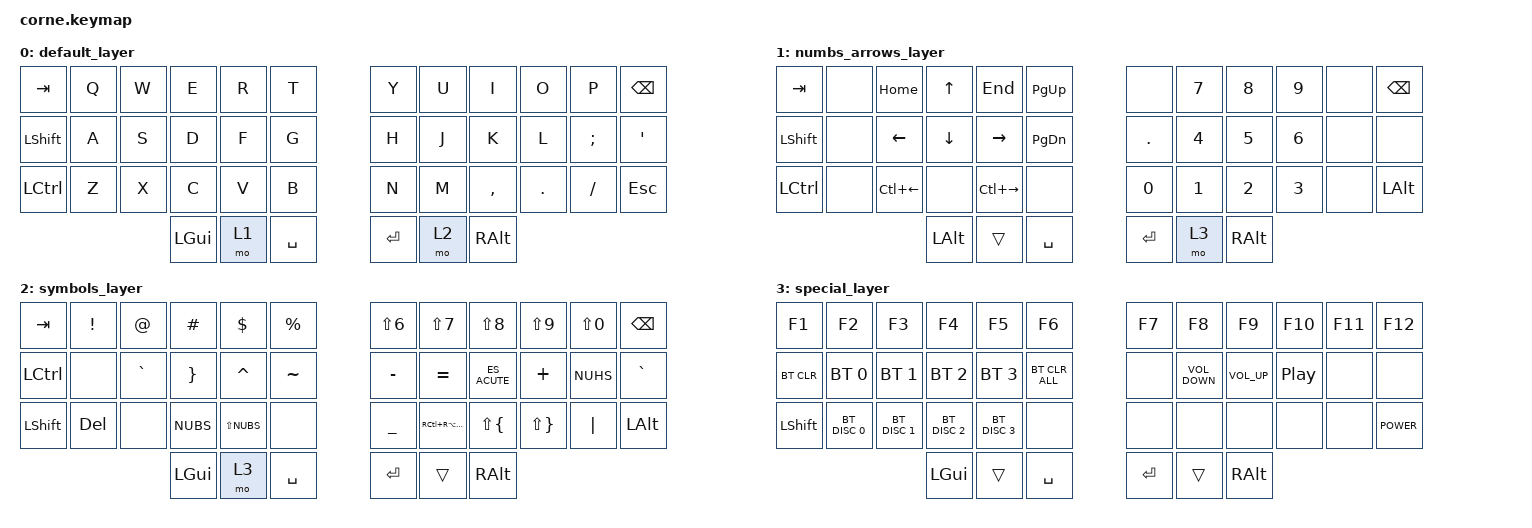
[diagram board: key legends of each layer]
/*
 * Copyright (c) 2020 The ZMK Contributors
 *
 * SPDX-License-Identifier: MIT
 */
// #include "config/keys_es_latin_american.h"

#pragma once

#include <dt-bindings/zmk/hid_usage.h>
#include <dt-bindings/zmk/hid_usage_pages.h>
#include <dt-bindings/zmk/modifiers.h>
#include <behaviors.dtsi>
#include <dt-bindings/zmk/bt.h>
#include <dt-bindings/zmk/keys.h>

/* ´ */

#define ES_ACUTE (ZMK_HID_USAGE(HID_USAGE_KEY, HID_USAGE_KEY_KEYBOARD_LEFT_BRACKET_AND_LEFT_BRACE))

/ {
    keymap {
        compatible = "zmk,keymap";

        default_layer {
            // -----------------------------------------------------------------------------------------
            // |  TAB |  Q  |  W  |  E  |  R  |  T  |   |  Y  |  U   |  I  |  O  |  P  | BKSP |
            // | CTRL |  A  |  S  |  D  |  F  |  G  |   |  H  |  J   |  K  |  L  |  ;  |  '   |
            // | SHFT |  Z  |  X  |  C  |  V  |  B  |   |  N  |  M   |  ,  |  .  |  /  | ESC  |
            //                    | GUI | LWR | SPC |   | ENT | RSE  | ALT |

            bindings = <
&kp TAB           &kp Q  &kp W  &kp E     &kp R  &kp T        &kp Y    &kp U  &kp I      &kp O    &kp P     &kp BSPC
&kp LEFT_SHIFT    &kp A  &kp S  &kp D     &kp F  &kp G        &kp H    &kp J  &kp K      &kp L    &kp SEMI  &kp SQT
&kp LEFT_CONTROL  &kp Z  &kp X  &kp C     &kp V  &kp B        &kp N    &kp M  &kp COMMA  &kp DOT  &kp FSLH  &kp ESC
                                &kp LGUI  &mo 1  &kp SPACE    &kp RET  &mo 2  &kp RALT
            >;
        };

        numbs_arrows_layer {
            bindings = <
&kp TAB           &none  &kp HOME      &kp UP        &kp END        &kp PAGE_UP      &none      &kp N7        &kp N8         &kp N9        &none  &kp BACKSPACE
&kp LEFT_SHIFT    &none  &kp LEFT      &kp DOWN      &kp RIGHT      &kp PAGE_DOWN    &kp DOT    &kp NUMBER_4  &kp N5         &kp N6        &none  &none
&kp LEFT_CONTROL  &none  &kp LC(LEFT)  &none         &kp LC(RIGHT)  &none            &kp N0     &kp NUMBER_1  &kp NUMBER_2   &kp NUMBER_3  &none  &kp LEFT_ALT
                                       &kp LEFT_ALT  &trans         &kp SPACE        &kp ENTER  &mo 3         &kp RIGHT_ALT
            >;
        };

        symbols_layer {
            // -----------------------------------------------------------------------------------------
            // |  TAB |  !  |  @  |  #  |  $  |  %  |   |  ^  |  &  |  *  |  (  |  )  | BKSP |
            // | CTRL |     |     |     |     |     |   |  -  |  =  |  [  |  ]  |  \  |  `   |
            // | SHFT |     |     |     |     |     |   |  _  |  +  |  {  |  }  | "|" |  ~   |
            //                    | GUI |     | SPC |   | ENT |     | ALT |

            bindings = <
&kp TAB    &kp EXCL    &kp AT     &kp HASH         &kp DLLR      &kp PRCNT    &kp LS(NUMBER_6)  &kp LS(N7)         &kp LS(N8)          &kp LS(N9)           &kp LS(N0)  &kp BACKSPACE
&kp LCTRL  &none       &kp GRAVE  &kp RIGHT_BRACE  &kp CARET     &kp TILDE    &kp MINUS         &kp EQUAL          &kp ES_ACUTE        &kp PLUS             &kp NUHS    &kp GRAVE
&kp LSHFT  &kp DELETE  &none      &kp NUBS         &kp LS(NUBS)  &none        &kp UNDER         &kp RC(RA(RS(Q)))  &kp LS(LEFT_BRACE)  &kp LS(RIGHT_BRACE)  &kp PIPE    &kp LEFT_ALT
                                  &kp LGUI         &mo 3         &kp SPACE    &kp RET           &trans             &kp RALT
            >;
        };

        special_layer {
            // -----------------------------------------------------------------------------------------
            // |  TAB |  1  |  2  |  3  |  4  |  5  |   |  6  |  7  |  8  |  9  |  0  | BKSP |
            // | BTCLR| BT1 | BT2 | BT3 | BT4 | BT5 |   | LFT | DWN |  UP | RGT |     |      |
            // | SHFT |     |     |     |     |     |   |     |     |     |     |     |      |
            //                    | GUI |     | SPC |   | ENT |     | ALT |

            bindings = <
&kp F1      &kp F2         &kp F3         &kp F4         &kp F5         &kp F6            &kp F7   &kp F8             &kp F9           &kp F10           &kp F11  &kp F12
&bt BT_CLR  &bt BT_SEL 0   &bt BT_SEL 1   &bt BT_SEL 2   &bt BT_SEL 3   &bt BT_CLR_ALL    &none    &kp K_VOLUME_DOWN  &kp C_VOLUME_UP  &kp C_PLAY_PAUSE  &none    &none
&kp LSHFT   &bt BT_DISC 0  &bt BT_DISC 1  &bt BT_DISC 2  &bt BT_DISC 3  &none             &none    &none              &none            &none             &none    &kp K_POWER
                                          &kp LGUI       &trans         &kp SPACE         &kp RET  &trans             &kp RALT
            >;
        };
    };
};
